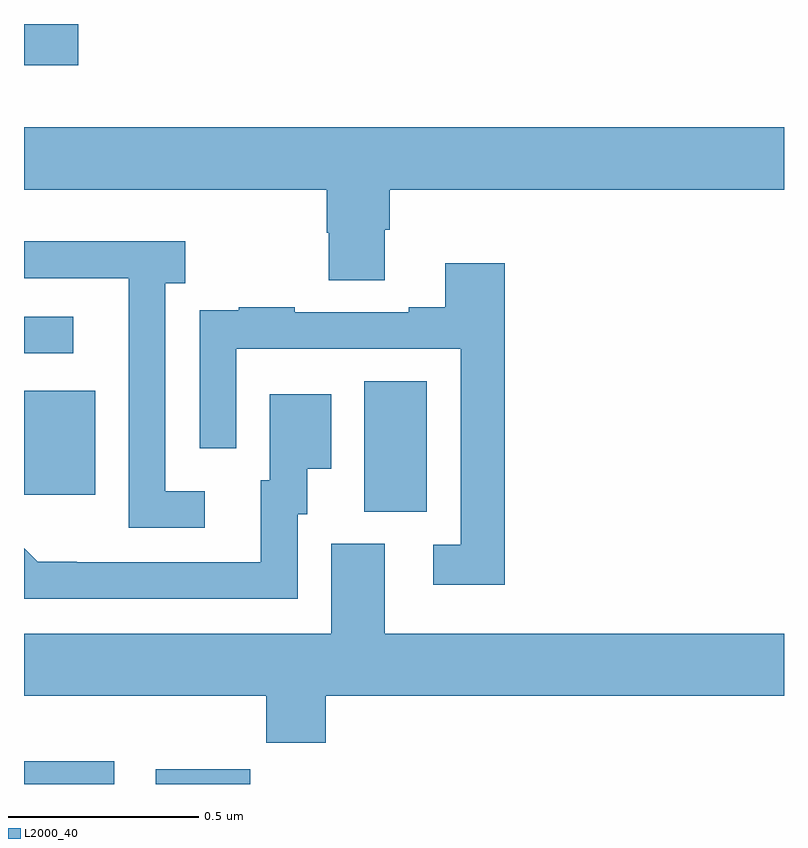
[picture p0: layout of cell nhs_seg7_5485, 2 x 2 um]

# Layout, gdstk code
import gdstk
lib = gdstk.Library(unit=1e-6, precision=1e-09)
def R(c, l, rs):  # rectangles x0, y0, x1, y1
    for r in rs: c.add(gdstk.rectangle(r[:2], r[2:], *l))
def P(c, l, *ps):  # polygons
    for p in ps: c.add(gdstk.Polygon(p, *l))
L2000_40 = (2000, 40)

nhs_seg7_5485 = lib.new_cell('nhs_seg7_5485')
R(nhs_seg7_5485, L2000_40, [(186,1051,186.238,1051.06), (186.347,1051,186.596,1051.039), (186.896,1051.717,187.06,1052.06), (186,1051.761,186.187,1052.035), (186,1052.133,186.13,1052.229), (186,1052.892,186.143,1053)])
P(nhs_seg7_5485, L2000_40, [(186.949,1052.458),(186.962,1052.458),(186.962,1052.564),(188,1052.564),(188,1052.728),(186,1052.728),(186,1052.564),(186.797,1052.564),(186.797,1052.451),(186.802,1052.451),(186.802,1052.326),(186.949,1052.326)],
  [(186.475,1051.77),(186.372,1051.77),(186.372,1052.318),(186.424,1052.318),(186.424,1052.428),(186,1052.428),(186,1052.331),(186.275,1052.331),(186.275,1052.131),(186.276,1052.131),(186.276,1051.674),(186.475,1051.674)],
  [(187.265,1052.371),(187.109,1052.371),(187.109,1052.254),(187.013,1052.254),(187.013,1052.241),(186.713,1052.241),(186.713,1052.254),(186.565,1052.254),(186.565,1052.247),(186.463,1052.247),(186.463,1052.138),(186.462,1052.138),(186.462,1051.884),(186.558,1051.884),(186.558,1052.145),(187.149,1052.145),(187.149,1051.629),(187.077,1051.629),(187.077,1051.524),(187.265,1051.524)],
  [(186.72,1051.71),(186.745,1051.71),(186.745,1051.829),(186.808,1051.829),(186.808,1052.026),(186.647,1052.026),(186.647,1051.8),(186.623,1051.8),(186.623,1051.584),(186.139,1051.584),(186.139,1051.585),(186.036,1051.585),(186,1051.621),(186,1051.488),(186.72,1051.488)],
  [(186.794,1051.232),(188,1051.232),(188,1051.396),(186.949,1051.396),(186.949,1051.632),(186.809,1051.632),(186.809,1051.396),(186,1051.396),(186,1051.232),(186.637,1051.232),(186.637,1051.108),(186.794,1051.108)])

lib.write_gds('nhs_seg7_5485.gds')
